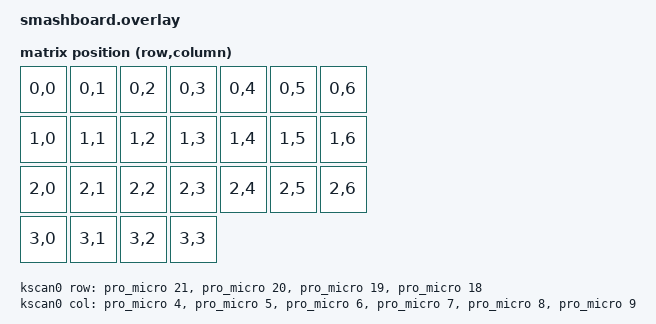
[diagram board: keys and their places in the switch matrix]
#include <dt-bindings/zmk/matrix_transform.h>

/ {
    chosen {
        zmk,kscan = &kscan0;
        zmk,matrix-transform = &default_transform;
    };

    default_transform: keymap_transform0 {
        compatible = "zmk,matrix-transform";
        columns = <6>;
        rows = <4>;
        map = <
        //   Key 1  | Key 2  | Key 3  | Key 4  | Key 5  | Key 6
            RC(0,0) RC(0,1) RC(0,2) RC(0,3) RC(0,4) RC(0,5) RC(0,6)
        //   Key 7  | Key 8  | Key 9  | Key 10 | Key 11 | Key 12
            RC(1,0) RC(1,1) RC(1,2) RC(1,3) RC(1,4) RC(1,5) RC(1,6)
        //   Key 13 | Key 14 | Key 15 | Key 16 | Key 17 | Key 18
            RC(2,0) RC(2,1) RC(2,2) RC(2,3) RC(2,4) RC(2,5) RC(2,6)
        //   Key 19 | Key 20 | Key 21 | Key 22
            RC(3,0) RC(3,1) RC(3,2) RC(3,3)
        >;
    };

    kscan0: kscan0 {
        compatible = "zmk,kscan-gpio-matrix";
        diode-direction = "col2row";
        wakeup-source;

        col-gpios
            = <&pro_micro 4 GPIO_ACTIVE_HIGH>
            , <&pro_micro 5 GPIO_ACTIVE_HIGH>
            , <&pro_micro 6 GPIO_ACTIVE_HIGH>
            , <&pro_micro 7 GPIO_ACTIVE_HIGH>
            , <&pro_micro 8 GPIO_ACTIVE_HIGH>
            , <&pro_micro 9 GPIO_ACTIVE_HIGH>
            ;

        row-gpios
            = <&pro_micro 21 (GPIO_ACTIVE_HIGH | GPIO_PULL_DOWN)>
            , <&pro_micro 20 (GPIO_ACTIVE_HIGH | GPIO_PULL_DOWN)>
            , <&pro_micro 19 (GPIO_ACTIVE_HIGH | GPIO_PULL_DOWN)>
            , <&pro_micro 18 (GPIO_ACTIVE_HIGH | GPIO_PULL_DOWN)>
            ;
    };
};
